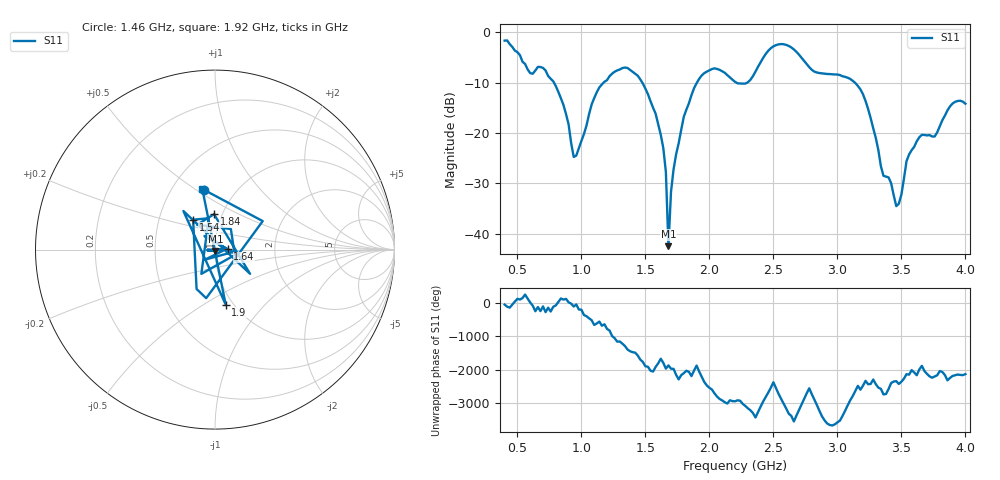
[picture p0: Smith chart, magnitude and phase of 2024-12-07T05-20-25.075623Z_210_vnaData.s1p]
!Created with skrf (http://scikit-rf.org).
# Hz S RI R 50.0
!freq ReS11 ImS11
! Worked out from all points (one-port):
!   181 points, 400 MHz to 4 GHz, reference 50 ohm
!   lowest |S11| = -42.4 dB at 1.68 GHz (marker M1), VSWR 1.02, Z = 50.2 - j0.729 ohm
!   |S11| at or under -10 dB: 785.2 MHz to 1.174 GHz (388.7 MHz wide, 39.7 % of centre); 1.476 GHz to 1.903 GHz (427.2 MHz wide, 25.3 % of centre); 3.136 GHz to end of sweep (the widest 3 of 4)
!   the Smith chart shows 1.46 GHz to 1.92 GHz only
!   S11 on the Smith chart (normalised r, x): 1.46 GHz: 0.71, +0.54; 1.54 GHz: 0.74, +0.26; 1.64 GHz: 1.15, +0.00; 1.84 GHz: 0.92, +0.38; 1.9 GHz: 0.92, -0.63; 1.92 GHz: 0.70, +0.53
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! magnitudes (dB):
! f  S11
! 400 MHz  -1.7
! 600 MHz  -8.1
! 720 MHz  -7.6
! 860 MHz  -14.5
! 960 MHz  -24.5
! 1.12 GHz  -11.9
! 1.3 GHz  -7.4
! 1.46 GHz  -9.4
! 1.54 GHz  -13.7
! 1.64 GHz  -23.0
! 1.66 GHz  -27.7
! 1.68 GHz  -42.4
! 1.7 GHz  -31.7
! 1.76 GHz  -22.0
! 1.84 GHz  -14.1
! 1.9 GHz  -10.1
! 1.92 GHz  -9.3
! 2.04 GHz  -7.2
! 2.2 GHz  -9.8
! 2.3 GHz  -10.0
! 2.5 GHz  -2.8
! 2.66 GHz  -3.4
! 3.1 GHz  -9.3
! 3.22 GHz  -13.7
! 3.36 GHz  -28.5
! 3.46 GHz  -34.5
! 3.56 GHz  -24.3
! 4 GHz  -14.2
